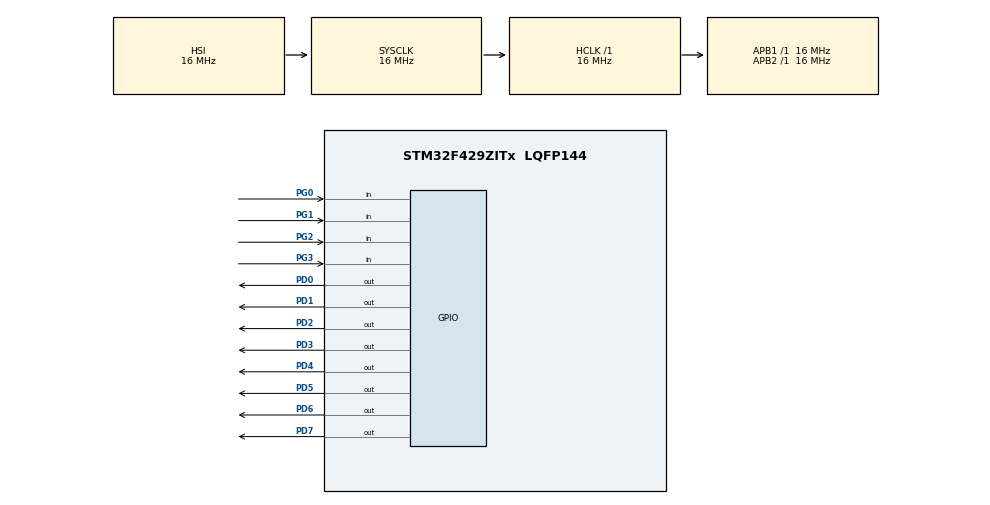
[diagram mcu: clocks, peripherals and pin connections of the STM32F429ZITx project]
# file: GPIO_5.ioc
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Mcu.Family=STM32F4
Mcu.Name=STM32F429ZITx
Mcu.Package=LQFP144
NVIC.PriorityGroup=NVIC_PRIORITYGROUP_4
PA13.Mode=Serial_Wire
PA13.Signal=SYS_JTMS-SWDIO
PA14.Mode=Serial_Wire
PA14.Signal=SYS_JTCK-SWCLK
PD0.GPIO_ModeDefaultOutputPP=GPIO_MODE_OUTPUT_PP
PD0.GPIO_PuPd=GPIO_PULLUP
PD0.GPIO_Speed=GPIO_SPEED_FREQ_HIGH
PD0.PinState=GPIO_PIN_RESET
PD0.Signal=GPIO_Output
PD1.GPIO_ModeDefaultOutputPP=GPIO_MODE_OUTPUT_PP
PD1.GPIO_PuPd=GPIO_PULLUP
PD1.GPIO_Speed=GPIO_SPEED_FREQ_HIGH
PD1.PinState=GPIO_PIN_RESET
PD1.Signal=GPIO_Output
PD2.GPIO_ModeDefaultOutputPP=GPIO_MODE_OUTPUT_PP
PD2.GPIO_PuPd=GPIO_PULLUP
PD2.GPIO_Speed=GPIO_SPEED_FREQ_HIGH
PD2.PinState=GPIO_PIN_RESET
PD2.Signal=GPIO_Output
PD3.GPIO_ModeDefaultOutputPP=GPIO_MODE_OUTPUT_PP
PD3.GPIO_PuPd=GPIO_PULLUP
PD3.GPIO_Speed=GPIO_SPEED_FREQ_HIGH
PD3.PinState=GPIO_PIN_RESET
PD3.Signal=GPIO_Output
PD4.GPIO_ModeDefaultOutputPP=GPIO_MODE_OUTPUT_PP
PD4.GPIO_PuPd=GPIO_PULLUP
PD4.GPIO_Speed=GPIO_SPEED_FREQ_HIGH
PD4.PinState=GPIO_PIN_RESET
PD4.Signal=GPIO_Output
PD5.GPIO_ModeDefaultOutputPP=GPIO_MODE_OUTPUT_PP
PD5.GPIO_PuPd=GPIO_PULLUP
PD5.GPIO_Speed=GPIO_SPEED_FREQ_HIGH
PD5.PinState=GPIO_PIN_RESET
PD5.Signal=GPIO_Output
PD6.GPIO_ModeDefaultOutputPP=GPIO_MODE_OUTPUT_PP
PD6.GPIO_PuPd=GPIO_PULLUP
PD6.GPIO_Speed=GPIO_SPEED_FREQ_HIGH
PD6.PinState=GPIO_PIN_RESET
PD6.Signal=GPIO_Output
PD7.GPIO_ModeDefaultOutputPP=GPIO_MODE_OUTPUT_PP
PD7.GPIO_PuPd=GPIO_PULLUP
PD7.GPIO_Speed=GPIO_SPEED_FREQ_HIGH
PD7.PinState=GPIO_PIN_SET
PD7.Signal=GPIO_Output
PG0.GPIO_Mode=GPIO_MODE_INPUT
PG0.GPIO_PuPd=GPIO_PULLDOWN
PG0.Signal=GPIO_Input
PG1.GPIO_Mode=GPIO_MODE_INPUT
PG1.GPIO_PuPd=GPIO_PULLDOWN
PG1.Signal=GPIO_Input
PG2.GPIO_Mode=GPIO_MODE_INPUT
PG2.GPIO_PuPd=GPIO_PULLDOWN
PG2.Signal=GPIO_Input
PG3.GPIO_Mode=GPIO_MODE_INPUT
PG3.GPIO_PuPd=GPIO_PULLDOWN
PG3.Signal=GPIO_Input
ProjectManager.HeapSize=0x200
ProjectManager.StackSize=0x400
ProjectManager.TargetToolchain=STM32CubeIDE
RCC.AHBFreq_Value=16000000
RCC.APB1Freq_Value=16000000
RCC.APB2Freq_Value=16000000
RCC.CortexFreq_Value=16000000
RCC.HSE_VALUE=25000000
RCC.HSI_VALUE=16000000
RCC.LSE_VALUE=32768
RCC.SYSCLKFreq_VALUE=16000000
RCC.VCOOutputFreq_Value=192000000
board=custom

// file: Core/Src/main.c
/* USER CODE BEGIN Header */
/**
  ******************************************************************************
  * @file           : main.c
  * @brief          : Main program body
  ******************************************************************************
  * @attention
  *
  * Copyright (c) 2022 STMicroelectronics.
  * All rights reserved.
  *
  * This software is licensed under terms that can be found in the LICENSE file
  * in the root directory of this software component.
  * If no LICENSE file comes with this software, it is provided AS-IS.
  *
  ******************************************************************************
  */
/* USER CODE END Header */
#include "main.h"

void SystemClock_Config(void);
static void MX_GPIO_Init(void);
/* USER CODE BEGIN PFP */
void LED_OnOff(int,int);

/* USER CODE END PFP */

int main(void)
{

  /* MCU Configuration--------------------------------------------------------*/

  /* Reset of all peripherals, Initializes the Flash interface and the Systick. */
  HAL_Init();

  /* Configure the system clock */
  SystemClock_Config();

  /* Initialize all configured peripherals */
  MX_GPIO_Init();
  /* USER CODE BEGIN 2 */
LED_OnOff(LED_ALL, 500);

  /* USER CODE END 2 */

  /* Infinite loop */
  /* USER CODE BEGIN WHILE */
int a1 = 0x01;
int a2 = 0x03;
int a3 = 0x07;
int a4 = 0x0f;
int a5 = 0x1f;
int a6 = 0x3f;
int a7 = 0x7f;
int a8 = 0xff;

  while (1)
  {
	  LED_OnOff(a1,200);
	  LED_OnOff(a2,200);

	  LED_OnOff(a1,200);
	  LED_OnOff(a2,200);
	  LED_OnOff(a3,200);

	  LED_OnOff(a1,200);
	  LED_OnOff(a2,200);
	  LED_OnOff(a3,200);
	  LED_OnOff(a4,200);

	  LED_OnOff(a1,200);
	  LED_OnOff(a2,200);
	  LED_OnOff(a3,200);
	  LED_OnOff(a4,200);
	  LED_OnOff(a5,200);

	  LED_OnOff(a1,200);
	  LED_OnOff(a2,200);
	  LED_OnOff(a3,200);
	  LED_OnOff(a4,200);
	  LED_OnOff(a5,200);
	  LED_OnOff(a6,200);

	  LED_OnOff(a1,200);
	  LED_OnOff(a2,200);
	  LED_OnOff(a3,200);
	  LED_OnOff(a4,200);
	  LED_OnOff(a5,200);
	  LED_OnOff(a6,200);
	  LED_OnOff(a7,200);

	  LED_OnOff(a1,200);
	  LED_OnOff(a2,200);
	  LED_OnOff(a3,200);
	  LED_OnOff(a4,200);
	  LED_OnOff(a5,200);
	  LED_OnOff(a6,200);
	  LED_OnOff(a7,200);
	  LED_OnOff(LED_ALL,200);

    /* USER CODE END WHILE */

  }
}

void SystemClock_Config(void)
{
  RCC_OscInitTypeDef RCC_OscInitStruct = {0};
  RCC_ClkInitTypeDef RCC_ClkInitStruct = {0};

  /** Configure the main internal regulator output voltage
  */
  __HAL_RCC_PWR_CLK_ENABLE();
  __HAL_PWR_VOLTAGESCALING_CONFIG(PWR_REGULATOR_VOLTAGE_SCALE3);

  /** Initializes the RCC Oscillators according to the specified parameters
  * in the RCC_OscInitTypeDef structure.
  */
  RCC_OscInitStruct.OscillatorType = RCC_OSCILLATORTYPE_HSI;
  RCC_OscInitStruct.HSIState = RCC_HSI_ON;
  RCC_OscInitStruct.HSICalibrationValue = RCC_HSICALIBRATION_DEFAULT;
  RCC_OscInitStruct.PLL.PLLState = RCC_PLL_NONE;
  if (HAL_RCC_OscConfig(&RCC_OscInitStruct) != HAL_OK)
  {
    Error_Handler();
  }

  /** Initializes the CPU, AHB and APB buses clocks
  */
  RCC_ClkInitStruct.ClockType = RCC_CLOCKTYPE_HCLK|RCC_CLOCKTYPE_SYSCLK
                              |RCC_CLOCKTYPE_PCLK1|RCC_CLOCKTYPE_PCLK2;
  RCC_ClkInitStruct.SYSCLKSource = RCC_SYSCLKSOURCE_HSI;
  RCC_ClkInitStruct.AHBCLKDivider = RCC_SYSCLK_DIV1;
  RCC_ClkInitStruct.APB1CLKDivider = RCC_HCLK_DIV1;
  RCC_ClkInitStruct.APB2CLKDivider = RCC_HCLK_DIV1;

  if (HAL_RCC_ClockConfig(&RCC_ClkInitStruct, FLASH_LATENCY_0) != HAL_OK)
  {
    Error_Handler();
  }
}

static void MX_GPIO_Init(void)
{
  GPIO_InitTypeDef GPIO_InitStruct = {0};

  /* GPIO Ports Clock Enable */
  __HAL_RCC_GPIOG_CLK_ENABLE();
  __HAL_RCC_GPIOA_CLK_ENABLE();
  __HAL_RCC_GPIOD_CLK_ENABLE();

  /*Configure GPIO pin Output Level */
  HAL_GPIO_WritePin(GPIOD, GPIO_PIN_0|GPIO_PIN_1|GPIO_PIN_2|GPIO_PIN_3
                          |GPIO_PIN_4|GPIO_PIN_5|GPIO_PIN_6, GPIO_PIN_RESET);

  /*Configure GPIO pin Output Level */
  HAL_GPIO_WritePin(GPIOD, GPIO_PIN_7, GPIO_PIN_SET);

  /*Configure GPIO pins : PG0 PG1 PG2 PG3 */
  GPIO_InitStruct.Pin = GPIO_PIN_0|GPIO_PIN_1|GPIO_PIN_2|GPIO_PIN_3;
  GPIO_InitStruct.Mode = GPIO_MODE_INPUT;
  GPIO_InitStruct.Pull = GPIO_PULLDOWN;
  HAL_GPIO_Init(GPIOG, &GPIO_InitStruct);

  /*Configure GPIO pins : PD0 PD1 PD2 PD3
                           PD4 PD5 PD6 PD7 */
  GPIO_InitStruct.Pin = GPIO_PIN_0|GPIO_PIN_1|GPIO_PIN_2|GPIO_PIN_3
                          |GPIO_PIN_4|GPIO_PIN_5|GPIO_PIN_6|GPIO_PIN_7;
  GPIO_InitStruct.Mode = GPIO_MODE_OUTPUT_PP;
  GPIO_InitStruct.Pull = GPIO_PULLUP;
  GPIO_InitStruct.Speed = GPIO_SPEED_FREQ_HIGH;
  HAL_GPIO_Init(GPIOD, &GPIO_InitStruct);

}

/* USER CODE BEGIN 4 */
void LED_OnOff(int led, int interval)
{
	HAL_GPIO_WritePin(GPIO_LED, led, GPIO_PIN_SET);
	HAL_Delay(interval);
	HAL_GPIO_WritePin(GPIO_LED, led, GPIO_PIN_RESET);
}
/* USER CODE END 4 */

void Error_Handler(void)
{
  __disable_irq();
  while (1)
  {
  }
}
